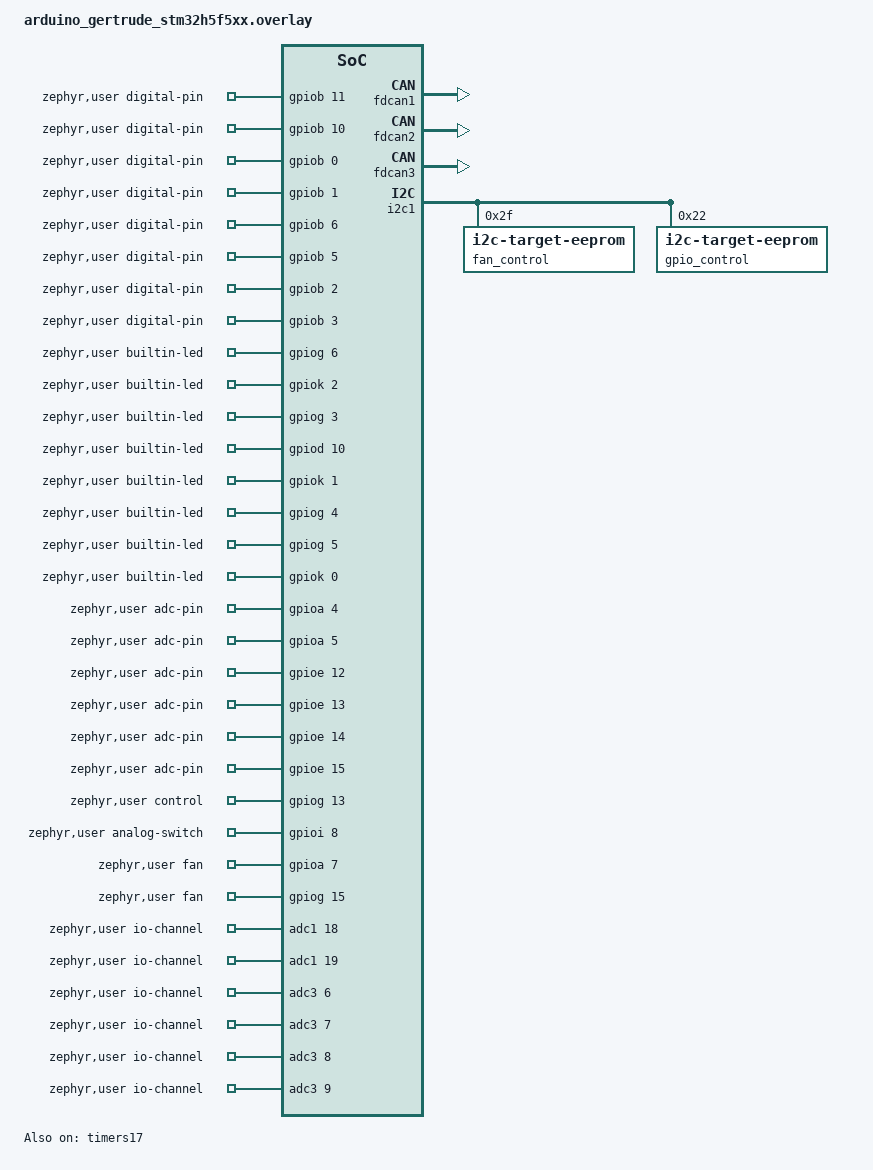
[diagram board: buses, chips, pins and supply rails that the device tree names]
&timers17 {
	status = "okay";
	st,prescaler = <4>;

	counter_matrix: counter {
		status = "okay";
		label = "LED_MATRIX_COUNTER";
	};
};

&fdcan1 {
	status = "okay";
};

&fdcan2 {
	status = "okay";
};

&fdcan3 {
	status = "okay";
};

&flash0 {
	partitions {
		bootanimation: partition@90000 {
			reg = <0x090000 DT_SIZE_K(64)>;
		};
		user_sketch: partition@100000 {
			reg = <0x100000 DT_SIZE_M(1)>;
		};
	};
};

&i2c1 {
	fan_control: eeprom@2f {
		reg = <0x2f>;
		size = <256>;
		compatible = "zephyr,i2c-target-eeprom";
		status = "okay";
	};
	gpio_control: eeprom@22 {
		reg = <0x22>;
		size = <256>;
		compatible = "zephyr,i2c-target-eeprom";
		status = "okay";
	};
};

/ {
	zephyr,user {
		digital-pin-gpios = <&gpiob 11 GPIO_ACTIVE_HIGH>, /* D0 - PB11 */
				    <&gpiob 10 GPIO_ACTIVE_HIGH>, /* D1 - PB10 */
				    <&gpiob 0 GPIO_ACTIVE_HIGH>, /* D2 - PB0 */
				    <&gpiob 1 GPIO_ACTIVE_HIGH>, /* D3 - PB1 */
				    <&gpiob 6 GPIO_ACTIVE_HIGH>, /* D4 - PB6 */
				    <&gpiob 5 GPIO_ACTIVE_HIGH>, /* D5 - PB5 */
				    <&gpiob 2 GPIO_ACTIVE_HIGH>, /* D6 - PB2 */
				    <&gpiob 3 GPIO_ACTIVE_HIGH>, /* D7 - PB3 */
				    <&gpiob 4 GPIO_ACTIVE_HIGH>, /* D8 - PB4 */
				    <&gpiob 7 GPIO_ACTIVE_HIGH>, /* D9 - PB7 */
				    <&gpiob 12 GPIO_ACTIVE_HIGH>, /* D10 - PB12 */
				    <&gpiob 15 GPIO_ACTIVE_HIGH>, /* D11 - PB15 */
				    <&gpiob 14 GPIO_ACTIVE_HIGH>, /* D12 - PB14 */
				    <&gpiob 13 GPIO_ACTIVE_HIGH>, /* D13 - PB13 */

					/* ADCs */
				    <&gpioa 4 GPIO_ACTIVE_HIGH>, /* A0 - PA4 */
				    <&gpioa 5 GPIO_ACTIVE_HIGH>, /* A1 - PA5 */
				    <&gpioe 12 GPIO_ACTIVE_HIGH>, /* A2 - PE12 */
				    <&gpioe 13 GPIO_ACTIVE_HIGH>, /* A3 - PE13 */
				    <&gpioe 14 GPIO_ACTIVE_HIGH>, /* A4 - PE14 */
				    <&gpioe 15 GPIO_ACTIVE_HIGH>, /* A5 - PE15 */

				    <&gpioh 10 GPIO_ACTIVE_HIGH>,  /* D20 - PH10 */
				    <&gpioh 11 GPIO_ACTIVE_HIGH>,  /* D21 - PH11 */

				    <&gpioc 10 GPIO_ACTIVE_HIGH>,        /* JSPI */
				    <&gpiof 14 GPIO_ACTIVE_HIGH>,
				    <&gpioc 12 GPIO_ACTIVE_HIGH>,

				    <&gpioe 2 GPIO_ACTIVE_HIGH>,	/* JMISC */
				    <&gpioa 9 GPIO_ACTIVE_HIGH>,
				    <&gpioe 3 GPIO_ACTIVE_HIGH>,
				    <&gpioc 7 GPIO_ACTIVE_HIGH>,
				    <&gpioe 4 GPIO_ACTIVE_HIGH>,
				    <&gpioc 8 GPIO_ACTIVE_HIGH>,
				    <&gpioe 5 GPIO_ACTIVE_HIGH>,
				    <&gpioe 1 GPIO_ACTIVE_HIGH>,
				    <&gpioe 6 GPIO_ACTIVE_HIGH>,
				    <&gpioc 11 GPIO_ACTIVE_HIGH>,
				    <&gpioe 7 GPIO_ACTIVE_HIGH>,
				    <&gpiod 3 GPIO_ACTIVE_HIGH>,
				    <&gpioe 8 GPIO_ACTIVE_HIGH>,
				    <&gpiof 4 GPIO_ACTIVE_HIGH>,
				    <&gpiof 1 GPIO_ACTIVE_HIGH>,
				    <&gpioi 7 GPIO_ACTIVE_HIGH>,
				    <&gpiof 0 GPIO_ACTIVE_HIGH>,
				    <&gpioa 6 GPIO_ACTIVE_HIGH>,
				    <&gpioa 0 GPIO_ACTIVE_HIGH>,
				    <&gpioi 5 GPIO_ACTIVE_HIGH>,
				    <&gpioa 1 GPIO_ACTIVE_HIGH>,
				    <&gpioh 8 GPIO_ACTIVE_HIGH>,
				    <&gpioa 2 GPIO_ACTIVE_HIGH>,
				    <&gpioa 11 GPIO_ACTIVE_HIGH>,
				    <&gpioa 12 GPIO_ACTIVE_HIGH>,

					<&gpioc 0 GPIO_ACTIVE_HIGH>,        /* JOMEGA */
					<&gpioc 1 GPIO_ACTIVE_HIGH>,
					<&gpioc 2 GPIO_ACTIVE_HIGH>,
					<&gpioc 3 GPIO_ACTIVE_HIGH>,
					<&gpiod 12 GPIO_ACTIVE_HIGH>,
					<&gpiod 13 GPIO_ACTIVE_HIGH>,
					<&gpiod 14 GPIO_ACTIVE_HIGH>,
					<&gpiod 15 GPIO_ACTIVE_HIGH>,
					<&gpioi 2 GPIO_ACTIVE_HIGH>,

				    <&gpiog 6 GPIO_ACTIVE_HIGH>,        /* LEDs GBR */
				    <&gpiok 2 GPIO_ACTIVE_HIGH>,
				    <&gpiog 3 GPIO_ACTIVE_HIGH>,
				    <&gpiod 10 GPIO_ACTIVE_HIGH>,
				    <&gpiok 1 GPIO_ACTIVE_HIGH>,
				    <&gpiog 4 GPIO_ACTIVE_HIGH>,
				    <&gpiog 5 GPIO_ACTIVE_HIGH>,
				    <&gpiok 0 GPIO_ACTIVE_HIGH>,
				    <&gpiod 11 GPIO_ACTIVE_HIGH>,
				    <&gpiog 8 GPIO_ACTIVE_HIGH>,
				    <&gpioc 6 GPIO_ACTIVE_HIGH>,
				    <&gpiog 2 GPIO_ACTIVE_HIGH>,

				    <&gpiof 0 GPIO_ACTIVE_HIGH>,        /* LED matrix */
				    <&gpiof 1 GPIO_ACTIVE_HIGH>,
				    <&gpiof 2 GPIO_ACTIVE_HIGH>,
				    <&gpiof 3 GPIO_ACTIVE_HIGH>,
				    <&gpiof 4 GPIO_ACTIVE_HIGH>,
				    <&gpiof 5 GPIO_ACTIVE_HIGH>,
				    <&gpiof 6 GPIO_ACTIVE_HIGH>,
				    <&gpiof 7 GPIO_ACTIVE_HIGH>,
				    <&gpiof 8 GPIO_ACTIVE_HIGH>,
				    <&gpiof 9 GPIO_ACTIVE_HIGH>,
				    <&gpiof 10 GPIO_ACTIVE_HIGH>,
				    <&gpiog 13 GPIO_ACTIVE_HIGH>,       /* Internal SPI RDY */
				    <&gpioi 8 GPIO_ACTIVE_HIGH>,        /* Analog switch for VREF */
				    <&gpioh 3 GPIO_ACTIVE_HIGH>;        /* BOOT0 */

		builtin-led-gpios = <&gpiog 6 GPIO_ACTIVE_HIGH>,        /* LEDs GBR */
				    <&gpiok 2 GPIO_ACTIVE_HIGH>,
				    <&gpiog 3 GPIO_ACTIVE_HIGH>,
				    <&gpiod 10 GPIO_ACTIVE_HIGH>,
				    <&gpiok 1 GPIO_ACTIVE_HIGH>,
				    <&gpiog 4 GPIO_ACTIVE_HIGH>,
				    <&gpiog 5 GPIO_ACTIVE_HIGH>,
				    <&gpiok 0 GPIO_ACTIVE_HIGH>,
				    <&gpiod 11 GPIO_ACTIVE_HIGH>,
				    <&gpiog 8 GPIO_ACTIVE_HIGH>,
				    <&gpioc 6 GPIO_ACTIVE_HIGH>,
				    <&gpiog 2 GPIO_ACTIVE_HIGH>;

		adc-pin-gpios =	<&gpioa  4 0>,
				    <&gpioa  5 0>,
				    <&gpioe 12 0>,
				    <&gpioe 13 0>,
				    <&gpioe 14 0>,
				    <&gpioe 15 0>;

		serials = <&board_cdc_acm_uart>, <&usart3>;
		cdc-acm = <&board_cdc_acm_uart>;
		i2cs = <&i2c2>, <&i2c4_bitbanged>, <&i2c3>;
		spis = <&spi2>, <&spi3>;

		pwms = <>;
		pwm-pin-gpios =	<>;
		dacs = <>;
		dac-channels = <1>;
		dac-resolution = <12>;

		control-gpios = <&gpiog 13 GPIO_ACTIVE_HIGH>;    /* Internal SPI RDY, connected to GPIO_MD_95 */
		analog-switch-gpios = <&gpioi 8 GPIO_ACTIVE_HIGH>;    /* Analog switch for VREF */

		fan-gpios = <&gpioa 7 GPIO_ACTIVE_HIGH>,
				<&gpiog 15 GPIO_ACTIVE_HIGH>;

		io-channels = <&adc1 18>,
				    <&adc1 19>,
				    <&adc3  6>,
				    <&adc3  7>,
				    <&adc3  8>,
				    <&adc3  9>;

		dac = <&dac1>;
		dac-channels = <1>, <2>;
		dac-resolution = <12>;
	};

	gs_usb0: gs_usb0 {
		compatible = "gs_usb";
		label = "gs_usb";
	};

	cannectivity: cannectivity {
		compatible = "cannectivity";
		timestamp-counter = <&counter0>;
		status = "okay";

		channel0 {
			compatible = "cannectivity-channel";
			can-controller = <&fdcan1>;
			/* TODO: changeme Use TX LED for channel 0 state + activity */
			state-led = <&red_led_3>;
		};

		channel1 {
			compatible = "cannectivity-channel";
			can-controller = <&fdcan2>;
			/* TODO: changeme Use TX LED for channel 0 state + activity */
			state-led = <&red_led_3>;
		};

		channel2 {
			compatible = "cannectivity-channel";
			can-controller = <&fdcan3>;
			/* TODO: changeme Use TX LED for channel 0 state + activity */
			state-led = <&red_led_3>;
		};
	};
};
